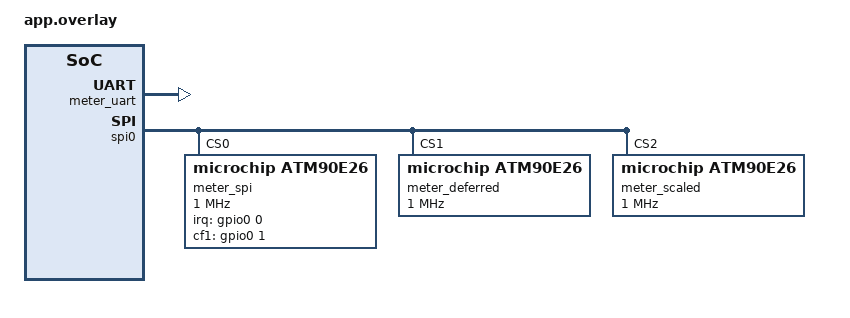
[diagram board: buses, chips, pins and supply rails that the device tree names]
/*
 * Copyright (c) 2025 Pedro Ramos
 *
 * SPDX-License-Identifier: Apache-2.0
 */

#include <zephyr/dt-bindings/gpio/gpio.h>

/ {
	euart_meter: uart-meter {
		compatible = "zephyr,uart-emul";
		current-speed = <9600>;
		status = "okay";

		meter_uart: atm90e26 {
			compatible = "microchip,atm90e26";
			meter-constant = <3200>;
			mmode = <0x9423>;
			u-gain = <0x6000>;
		};
	};
};

&spi0 {
	meter_spi: atm90e26@0 {
		compatible = "microchip,atm90e26";
		reg = <0>;
		spi-max-frequency = <1000000>;
		meter-constant = <3200>;
		func-en = <0x0008>;
		pl-constant = <0x0015d175>;
		l-gain = <0x1234>;
		mmode = <0x9423>;
		u-gain = <0x6000>;
		q-offset-n = <0x0042>;
		irq-gpios = <&gpio0 0 GPIO_ACTIVE_HIGH>;
		cf1-gpios = <&gpio0 1 GPIO_ACTIVE_HIGH>;
	};

	meter_deferred: atm90e26@1 {
		compatible = "microchip,atm90e26";
		reg = <1>;
		spi-max-frequency = <1000000>;
		zephyr,deferred-init;
	};

	/* Calibrated to read one tenth of the actual current */
	meter_scaled: atm90e26@2 {
		compatible = "microchip,atm90e26";
		reg = <2>;
		spi-max-frequency = <1000000>;
		current-scale = <10 1>;
	};
};
